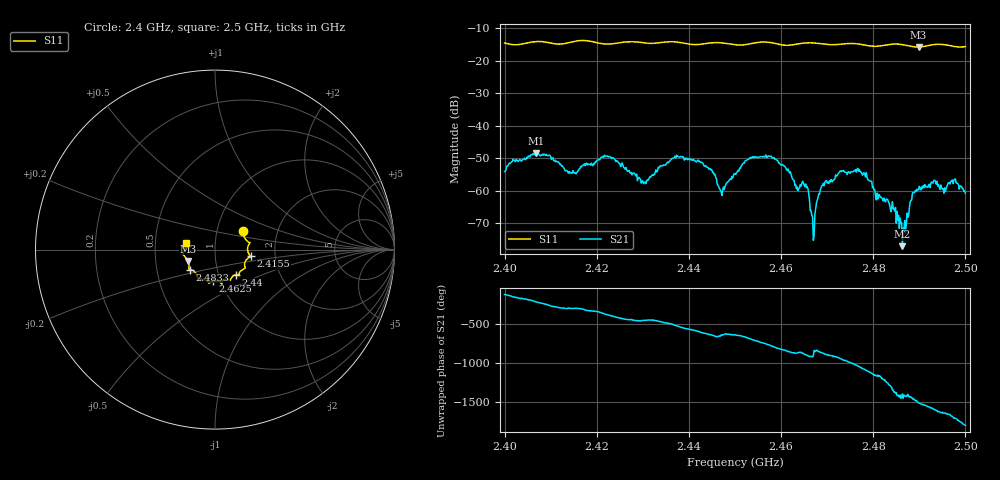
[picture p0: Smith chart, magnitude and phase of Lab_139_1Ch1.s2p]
# Hz S RI R 50
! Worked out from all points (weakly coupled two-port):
!   601 points, 2.4 GHz to 2.5 GHz, reference 50 ohm
!   highest |S21| = -48.30 dB at 2.4068 GHz (marker M1); lowest = -77.0 dB at 2.4863 GHz (marker M2)
!   lowest |S11| = -15.7 dB at 2.4898 GHz (marker M3), VSWR 1.39, Z = 36.6 - j4.75 ohm
!   |S11| at or under -10 dB: start of sweep to end of sweep
!   S12 and S22 are empty: the file has one direction only
!   S11 on the Smith chart (normalised r, x): 2.4 GHz: 1.33, +0.29; 2.4155 GHz: 1.49, -0.11; 2.44 GHz: 1.21, -0.35; 2.4625 GHz: 0.92, -0.34; 2.4833 GHz: 0.74, -0.17; 2.5 GHz: 0.72, +0.05
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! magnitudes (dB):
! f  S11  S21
! 2.4 GHz  -14.5  -54.1
! 2.4068 GHz  -14.0  -48.3
! 2.4155 GHz  -13.9  -54.8
! 2.4167 GHz  -13.7  -52.6
! 2.4225 GHz  -14.8  -49.6
! 2.4302 GHz  -14.4  -57.8
! 2.4333 GHz  -14.4  -52.7
! 2.44 GHz  -14.8  -50.1
! 2.4472 GHz  -14.5  -61.4
! 2.45 GHz  -15.0  -54.8
! 2.4572 GHz  -14.2  -49.2
! 2.4625 GHz  -15.0  -56.3
! 2.4655 GHz  -14.5  -59.0
! 2.4667 GHz  -14.4  -67.5
! 2.4692 GHz  -14.8  -57.7
! 2.4732 GHz  -14.8  -53.8
! 2.477 GHz  -14.8  -53.5
! 2.4833 GHz  -15.0  -63.5
! 2.4863 GHz  -15.0  -77.0
! 2.4898 GHz  -15.7  -59.7
! 2.4973 GHz  -15.5  -57.7
! 2.5 GHz  -15.6  -60.7
